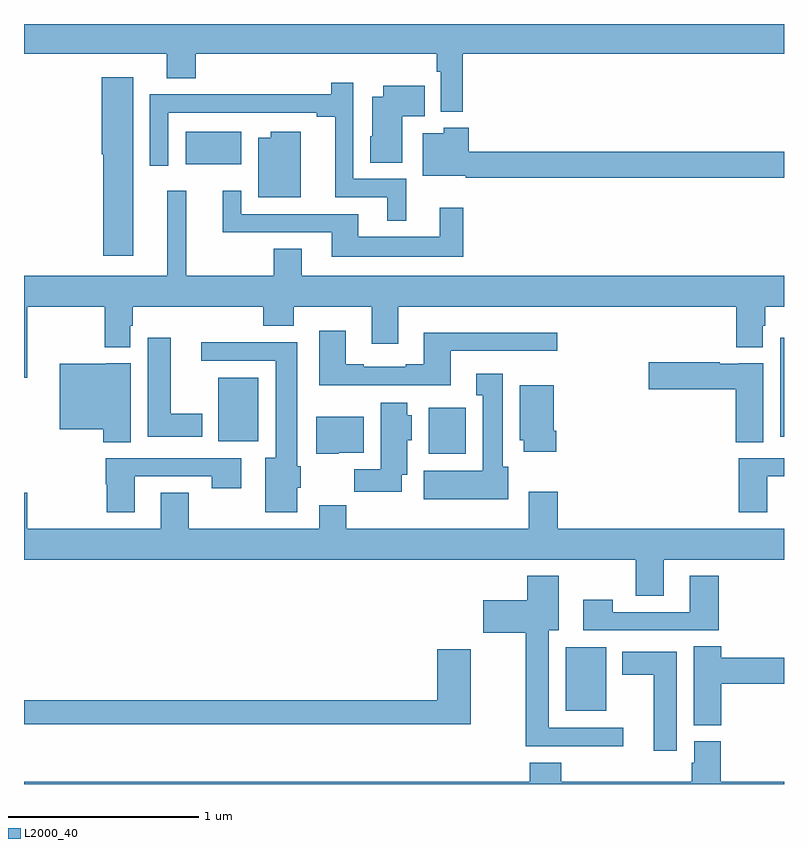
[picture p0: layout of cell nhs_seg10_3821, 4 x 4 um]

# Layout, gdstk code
import gdstk
lib = gdstk.Library(unit=1e-6, precision=1e-09)
def R(c, l, rs):  # rectangles x0, y0, x1, y1
    for r in rs: c.add(gdstk.rectangle(r[:2], r[2:], *l))
def P(c, l, *ps):  # polygons
    for p in ps: c.add(gdstk.Polygon(p, *l))
L2000_40 = (2000, 40)

nhs_seg10_3821 = lib.new_cell('nhs_seg10_3821')
R(nhs_seg10_3821, L2000_40, [(323.852,1268.885,324.064,1269.22), (323.129,1270.238,323.326,1270.48), (322.022,1270.304,322.234,1270.639), (324.98,1270.328,325,1270.849), (321.851,1271.762,322.144,1271.932)])
P(nhs_seg10_3821, L2000_40, [(323.309,1272.344),(325,1272.344),(325,1272.5),(321,1272.5),(321,1272.344),(321.752,1272.344),(321.752,1272.214),(321.905,1272.214),(321.905,1272.344),(323.173,1272.344),(323.173,1272.248),(323.193,1272.248),(323.193,1272.038),(323.309,1272.038)],
  [(321.574,1272.22),(321.41,1272.22),(321.41,1271.814),(321.416,1271.814),(321.416,1271.28),(321.574,1271.28)],
  [(323.011,1271.685),(322.734,1271.685),(322.734,1272.19),(322.618,1272.19),(322.618,1272.131),(321.988,1272.131),(321.988,1272.129),(321.663,1272.129),(321.663,1271.754),(321.759,1271.754),(321.759,1272.033),(322.541,1272.033),(322.541,1272.013),(322.637,1272.013),(322.637,1271.589),(322.913,1271.589),(322.913,1271.465),(323.011,1271.465)],
  [(322.99,1272.014),(323.108,1272.014),(323.108,1272.175),(322.892,1272.175),(322.892,1272.118),(322.832,1272.118),(322.832,1271.91),(322.823,1271.91),(322.823,1271.77),(322.99,1271.77)],
  [(325,1271.828),(323.342,1271.828),(323.342,1271.953),(323.208,1271.953),(323.208,1271.926),(323.099,1271.926),(323.099,1271.702),(323.325,1271.702),(323.325,1271.692),(325,1271.692)],
  [(322.456,1271.932),(322.298,1271.932),(322.298,1271.902),(322.232,1271.902),(322.232,1271.588),(322.456,1271.588)],
  [(323.311,1271.533),(323.189,1271.533),(323.189,1271.38),(322.759,1271.38),(322.759,1271.499),(322.143,1271.499),(322.143,1271.623),(322.046,1271.623),(322.046,1271.403),(322.619,1271.403),(322.619,1271.276),(323.311,1271.276)],
  [(321.016,1271.012),(321.424,1271.012),(321.424,1270.799),(321.559,1270.799),(321.559,1270.911),(321.572,1270.911),(321.572,1271.012),(322.259,1271.012),(322.259,1270.913),(322.419,1270.913),(322.419,1271.012),(322.829,1271.012),(322.829,1270.818),(322.969,1270.818),(322.969,1271.012),(324.749,1271.012),(324.749,1270.799),(324.889,1270.799),(324.889,1270.911),(324.902,1270.911),(324.902,1271.012),(325,1271.012),(325,1271.176),(322.462,1271.176),(322.462,1271.318),(322.315,1271.318),(322.315,1271.176),(321.854,1271.176),(321.854,1271.623),(321.755,1271.623),(321.755,1271.176),(321,1271.176),(321,1270.638),(321.016,1270.638)],
  [(322.785,1270.599),(323.245,1270.599),(323.245,1270.779),(323.806,1270.779),(323.806,1270.876),(323.105,1270.876),(323.105,1270.708),(323.009,1270.708),(323.009,1270.695),(322.789,1270.695),(322.789,1270.708),(322.693,1270.708),(322.693,1270.885),(322.553,1270.885),(322.553,1270.598),(322.785,1270.598)],
  [(321.937,1270.45),(321.772,1270.45),(321.772,1270.849),(321.65,1270.849),(321.65,1270.328),(321.937,1270.328)],
  [(322.438,1270.059),(322.456,1270.059),(322.456,1270.173),(322.438,1270.173),(322.438,1270.826),(321.933,1270.826),(321.933,1270.728),(322.325,1270.728),(322.325,1270.216),(322.271,1270.216),(322.271,1269.93),(322.438,1269.93)],
  [(324.892,1270.714),(324.762,1270.714),(324.762,1270.711),(324.662,1270.711),(324.662,1270.719),(324.288,1270.719),(324.288,1270.577),(324.746,1270.577),(324.746,1270.3),(324.892,1270.3)],
  [(321.562,1270.714),(321.432,1270.714),(321.432,1270.711),(321.188,1270.711),(321.188,1270.367),(321.416,1270.367),(321.416,1270.3),(321.562,1270.3)],
  [(323.548,1270.17),(323.521,1270.17),(323.521,1270.66),(323.381,1270.66),(323.381,1270.547),(323.414,1270.547),(323.414,1270.15),(323.105,1270.15),(323.105,1269.998),(323.548,1269.998)],
  [(323.801,1270.36),(323.788,1270.36),(323.788,1270.6),(323.609,1270.6),(323.609,1270.308),(323.63,1270.308),(323.63,1270.248),(323.801,1270.248)],
  [(322.987,1270.127),(323.017,1270.127),(323.017,1270.308),(323.041,1270.308),(323.041,1270.44),(323.017,1270.44),(323.017,1270.507),(322.877,1270.507),(322.877,1270.156),(322.738,1270.156),(322.738,1270.038),(322.987,1270.038)],
  [(322.656,1270.244),(322.789,1270.244),(322.789,1270.432),(322.538,1270.432),(322.538,1270.238),(322.656,1270.238)],
  [(324.913,1270.119),(325,1270.119),(325,1270.215),(324.761,1270.215),(324.761,1269.93),(324.913,1269.93)],
  [(321.583,1270.119),(321.988,1270.119),(321.988,1270.056),(322.144,1270.056),(322.144,1270.215),(321.431,1270.215),(321.431,1270.077),(321.436,1270.077),(321.436,1269.93),(321.583,1269.93)],
  [(324.367,1269.68),(325,1269.68),(325,1269.844),(323.81,1269.844),(323.81,1270.039),(323.657,1270.039),(323.657,1269.844),(322.697,1269.844),(322.697,1269.968),(322.553,1269.968),(322.553,1269.844),(321.867,1269.844),(321.867,1270.034),(321.719,1270.034),(321.719,1269.844),(321.016,1269.844),(321.016,1270.033),(321,1270.033),(321,1269.68),(324.22,1269.68),(324.22,1269.49),(324.367,1269.49)],
  [(324.656,1269.595),(324.503,1269.595),(324.503,1269.405),(324.099,1269.405),(324.099,1269.469),(323.943,1269.469),(323.943,1269.309),(324.656,1269.309)],
  [(324.154,1268.796),(323.761,1268.796),(323.761,1269.308),(323.815,1269.308),(323.815,1269.595),(323.648,1269.595),(323.648,1269.466),(323.418,1269.466),(323.418,1269.296),(323.641,1269.296),(323.641,1268.699),(324.154,1268.699)],
  [(324.671,1269.028),(325,1269.028),(325,1269.164),(324.671,1269.164),(324.671,1269.224),(324.524,1269.224),(324.524,1268.809),(324.671,1268.809)],
  [(323.352,1269.208),(323.174,1269.208),(323.174,1268.942),(321,1268.942),(321,1268.814),(323.352,1268.814)],
  [(324.436,1269.196),(324.149,1269.196),(324.149,1269.074),(324.314,1269.074),(324.314,1268.676),(324.436,1268.676)],
  [(325,1268.512),(324.668,1268.512),(324.668,1268.724),(324.527,1268.724),(324.527,1268.613),(324.515,1268.613),(324.515,1268.512),(323.828,1268.512),(323.828,1268.611),(323.663,1268.611),(323.663,1268.512),(321,1268.512),(321,1268.5),(325,1268.5)])

lib.write_gds('nhs_seg10_3821.gds')
